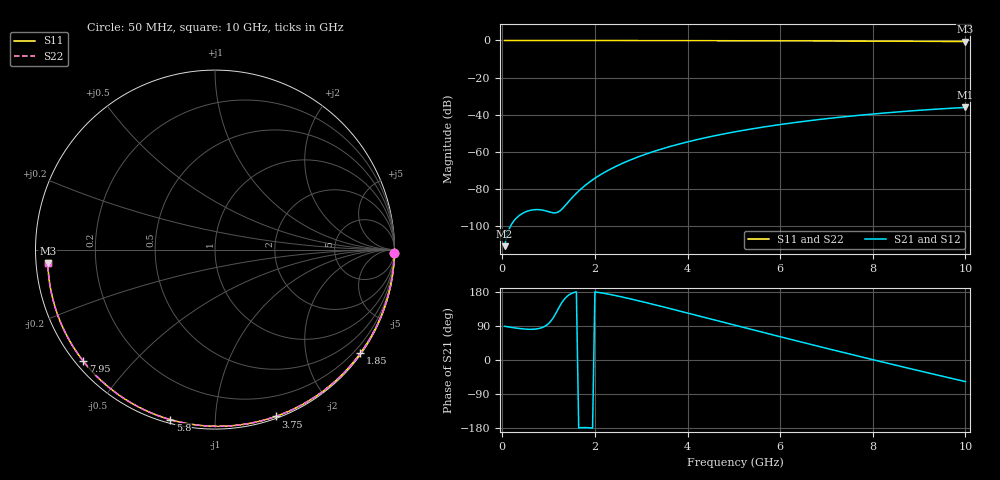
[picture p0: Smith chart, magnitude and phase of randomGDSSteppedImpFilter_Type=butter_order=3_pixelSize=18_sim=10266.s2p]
! freq	dB(S11)	phase(S11)	dB(S12)	phase(S12)
!  dB(S21)	phase(S21)	dB(S22)	phase(S22)
!S-par simulation data
#  GHz  S  DB  R 50
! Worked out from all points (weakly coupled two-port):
!   200 points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, 50 MHz to 10 GHz, reference 50 ohm
!   highest |S21| = -36.02 dB at 10 GHz (marker M1); lowest = -110.6 dB at 50 MHz (marker M2)
!   lowest |S11| = -0.6 dB at 10 GHz (marker M3), VSWR 29.49, Z = 1.7 - j2.06 ohm
!   |S11| at or under -10 dB: nowhere
!   |S22| runs from -0.6 to 0.0 dB; largest |S21 - S12| = 0
!   S11 on the Smith chart (normalised r, x): 50 MHz: open; 1.85 GHz: 0.03, -3.12; 3.75 GHz: 0.02, -1.43; 5.8 GHz: 0.02, -0.77; 7.95 GHz: 0.02, -0.37; 10 GHz: 0.03, -0.04
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0.05  -0.00 -1.0  -110.63 89.0  -110.63 89.0  -0.00 -1.0
0.45  -0.01 -8.8  -92.80 82.0  -92.80 82.0  -0.01 -8.8
0.85  -0.02 -16.5  -91.16 85.1  -91.16 85.1  -0.02 -16.5
1.65  -0.04 -31.7  -80.96 -179.1  -80.96 -179.1  -0.04 -31.7
1.7  -0.04 -32.7  -79.82 -178.6  -79.82 -178.6  -0.04 -32.7
1.75  -0.04 -33.6  -78.75 -178.3  -78.75 -178.3  -0.04 -33.6
1.85  -0.05 -35.5  -76.75 -178.6  -76.75 -178.6  -0.05 -35.5
2  -0.05 -38.3  -74.10 179.6  -74.10 179.6  -0.05 -38.3
2.15  -0.05 -41.1  -71.75 176.9  -71.75 176.9  -0.05 -41.1
2.5  -0.06 -47.6  -67.16 168.6  -67.16 168.6  -0.06 -47.6
2.9  -0.07 -54.8  -62.94 157.5  -62.94 157.5  -0.07 -54.8
3.4  -0.08 -63.8  -58.67 142.5  -58.67 142.5  -0.08 -63.8
3.75  -0.10 -70.0  -56.15 131.7  -56.15 131.7  -0.10 -70.0
4.4  -0.12 -81.2  -52.22 111.4  -52.22 111.4  -0.12 -81.2
5.05  -0.14 -92.2  -49.01 91.0  -49.01 91.0  -0.14 -92.2
5.8  -0.18 -104.7  -45.94 67.6  -45.94 67.6  -0.18 -104.7
6.7  -0.24 -119.3  -42.94 39.9  -42.94 39.9  -0.24 -119.4
7.3  -0.28 -129.1  -41.26 21.8  -41.26 21.8  -0.28 -129.1
7.95  -0.34 -139.7  -39.67 2.4  -39.67 2.4  -0.34 -139.7
8.35  -0.38 -146.4  -38.81 -9.4  -38.81 -9.4  -0.38 -146.4
9.2  -0.48 -160.8  -37.22 -34.2  -37.22 -34.2  -0.48 -160.9
10  -0.59 -175.3  -36.02 -56.9  -36.02 -56.9  -0.59 -175.3
